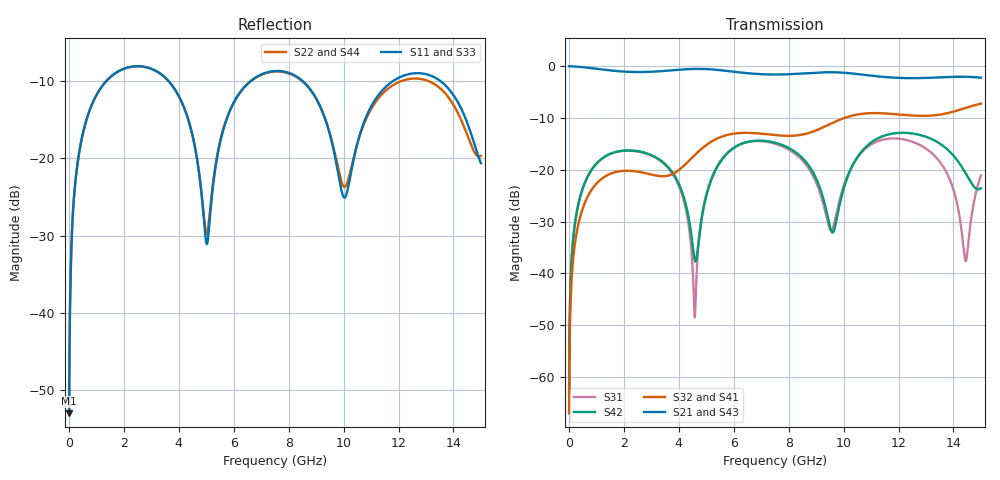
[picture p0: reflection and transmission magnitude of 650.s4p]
! Created with skrf 1.8.0 (http://scikit-rf.org).
# GHz S RI R 50.0
!freq ReS11 ImS11 ReS12 ImS12 ReS13 ImS13
! ReS14 ImS14
! ReS21 ImS21 ReS22 ImS22 ReS23 ImS23
! ReS24 ImS24
! ReS31 ImS31 ReS32 ImS32 ReS33 ImS33
! ReS34 ImS34
! ReS41 ImS41 ReS42 ImS42 ReS43 ImS43
! ReS44 ImS44
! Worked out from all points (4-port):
!   2499 points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, 5 MHz to 15 GHz, reference 50 ohm
!   strongest paths, dB at 5 MHz, 3.476 GHz, 7.19 GHz, 11.1 GHz, 15 GHz:
!     S21: 0.0, -0.9, -1.6, -1.9, -2.2
!     S43: 0.0, -0.9, -1.6, -1.9, -2.2
!     S32: -67.0, -21.2, -13.1, -9.1, -7.2
!     S41: -67.0, -21.3, -13.2, -9.1, -7.3
!     S42: -63.1, -18.8, -14.5, -14.4, -23.6
!     S31: -63.1, -18.9, -14.6, -14.8, -21.1
!   lowest |S11| = -53.0 dB at 5 MHz (marker M1), VSWR 1.00, Z = 50.2 + j0.136 ohm
!   |S11| at or under -10 dB: 3.626 GHz to 6.617 GHz (2.991 GHz wide, 58.4 % of centre); 8.511 GHz to 11.8 GHz (3.289 GHz wide, 32.4 % of centre); 13.52 GHz to end of sweep (the widest 3 of 4)
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0.005  0.00179 0.00136  0.9982 -0.00348  8.98e-05 0.000698  -8.73e-05 -0.00044
       0.9982 -0.00348  0.00179 0.00136  -8.73e-05 -0.00044  8.99e-05 0.000698
       8.98e-05 0.000698  -8.73e-05 -0.00044  0.00179 0.00136  0.9982 -0.00348
       -8.73e-05 -0.00044  8.99e-05 0.000698  0.9982 -0.00348  0.00179 0.00136
0.3126303  0.0278 0.0887  0.962 -0.2157  0.0126 0.041  -0.0106 -0.0254
           0.962 -0.2157  0.0278 0.0887  -0.0106 -0.0254  0.0128 0.041
           0.0126 0.041  -0.0106 -0.0254  0.0278 0.0887  0.962 -0.2156
           -0.0106 -0.0254  0.0128 0.041  0.962 -0.2156  0.0278 0.0887
1.519383  0.2915 0.1696  0.5035 -0.7548  0.1315 0.0552  -0.0917 0.00113
          0.5035 -0.7548  0.2906 0.1703  -0.0918 0.00125  0.1335 0.0521
          0.1315 0.0552  -0.0918 0.00125  0.2915 0.1697  0.5035 -0.7548
          -0.0917 0.00113  0.1335 0.0521  0.5035 -0.7548  0.2908 0.1703
4.58316  0.0555 -0.1061  -0.8808 -0.3272  -0.00376 -0.000253  -0.0451 0.1314
         -0.8808 -0.3272  0.0595 -0.1031  -0.0434 0.1319  -0.0126 -0.00448
         -0.00376 -0.000253  -0.0434 0.1319  0.0567 -0.1064  -0.8807 -0.3273
         -0.0451 0.1314  -0.0126 -0.00448  -0.8807 -0.3273  0.0588 -0.104
7.653189  0.3668 -0.0169  -0.0578 0.8278  0.1577 -0.0706  0.2066 -0.0533
          -0.0578 0.8278  0.364 -0.014  0.2067 -0.0572  0.1587 -0.0801
          0.1577 -0.0706  0.2067 -0.0572  0.3663 -0.0174  -0.0575 0.8277
          0.2066 -0.0533  0.1587 -0.0801  -0.0575 0.8277  0.3648 -0.0139
10.39808  0.0781 0.0695  0.8421 -0.0585  0.0447 0.1111  -0.04 -0.3344
          0.8421 -0.0585  0.0861 0.0628  -0.0476 -0.3335  0.0572 0.1043
          0.0447 0.1111  -0.0476 -0.3335  0.0787 0.0646  0.8424 -0.0582
          -0.04 -0.3344  0.0572 0.1043  0.8424 -0.0582  0.0847 0.0602
15  0.0858 -0.0362  -0.7359 -0.2378  0.0165 0.0866  -0.129 0.4144
    -0.7359 -0.2378  0.1032 0.0103  -0.1148 0.4188  -0.0497 0.044
    0.0165 0.0866  -0.1148 0.4188  0.0829 -0.0356  -0.7373 -0.2337
    -0.129 0.4144  -0.0497 0.044  -0.7373 -0.2337  0.1016 0.0142
